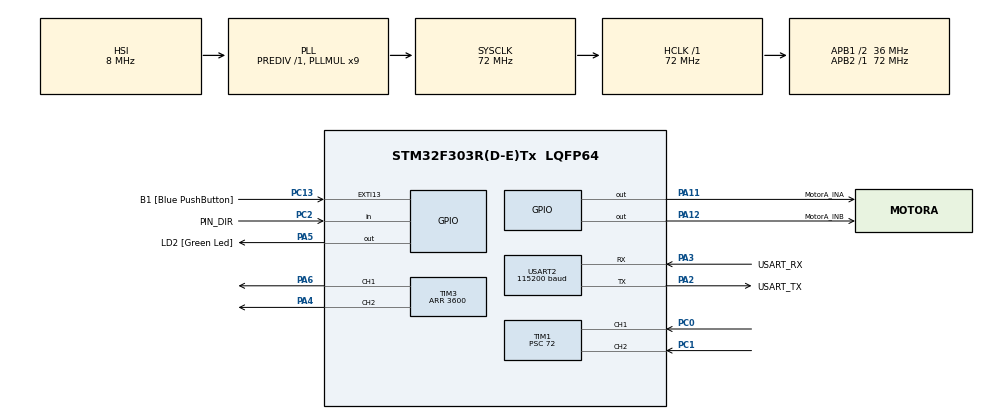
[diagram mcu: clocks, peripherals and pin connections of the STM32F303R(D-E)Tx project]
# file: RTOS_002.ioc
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FREERTOS.BinarySemaphores01=binSem1,Dynamic,NULL;BinSemPWM,Dynamic,NULL
FREERTOS.Mutexes01=MutexEncoder,Dynamic,NULL
FREERTOS.Queues01=QueueUARTSend,32,UART_DATA_SEND_t,0,Dynamic,NULL,NULL
FREERTOS.Tasks01=TaskVelRef,2,128,TaskVelRef_App,Default,NULL,Dynamic,NULL,NULL;TaskControl,1,128,TaskControl_App,Default,NULL,Dynamic,NULL,NULL;TaskPWM,1,128,TaskPWM_App,Default,NULL,Dynamic,NULL,NULL;TaskMotorSpeed,2,128,TaskMotorSpeed_App,Default,NULL,Dynamic,NULL,NULL;TaskUartSend,-1,128,TaskUartSend_App,Default,NULL,Dynamic,NULL,NULL
FREERTOS.configLIBRARY_LOWEST_INTERRUPT_PRIORITY=3
FREERTOS.configLIBRARY_MAX_SYSCALL_INTERRUPT_PRIORITY=2
FREERTOS.configMAX_TASK_NAME_LEN=24
FREERTOS.configTOTAL_HEAP_SIZE=8192
Mcu.Family=STM32F3
Mcu.Name=STM32F303R(D-E)Tx
Mcu.Package=LQFP64
NVIC.EXTI15_10_IRQn=true\:2\:0\:true\:false\:true\:false\:true\:true
NVIC.PriorityGroup=NVIC_PRIORITYGROUP_4
NVIC.TIM1_CC_IRQn=true\:2\:0\:true\:false\:true\:true\:true\:true
NVIC.TIM6_DAC_IRQn=true\:0\:0\:false\:false\:true\:false\:false\:true
NVIC.TimeBase=TIM6_DAC_IRQn
NVIC.TimeBaseIP=TIM6
PA11.GPIO_Label=MotorA_INA
PA11.Signal=GPIO_Output
PA12.GPIO_Label=MotorA_INB
PA12.Signal=GPIO_Output
PA13.GPIO_Label=TMS
PA13.Mode=Serial_Wire
PA13.Signal=SYS_JTMS-SWDIO
PA14.GPIO_Label=TCK
PA14.Mode=Serial_Wire
PA14.Signal=SYS_JTCK-SWCLK
PA2.GPIO_Label=USART_TX
PA2.GPIO_Mode=GPIO_MODE_AF_PP
PA2.GPIO_PuPd=GPIO_NOPULL
PA2.GPIO_Speed=GPIO_SPEED_FREQ_LOW
PA2.Mode=Asynchronous
PA2.Signal=USART2_TX
PA3.GPIO_Label=USART_RX
PA3.GPIO_Mode=GPIO_MODE_AF_PP
PA3.GPIO_PuPd=GPIO_NOPULL
PA3.GPIO_Speed=GPIO_SPEED_FREQ_LOW
PA3.Mode=Asynchronous
PA3.Signal=USART2_RX
PA4.GPIO_ModeDefaultPP=GPIO_MODE_AF_PP
PA4.Signal=S_TIM3_CH2
PA5.GPIO_Label=LD2 [Green Led]
PA5.GPIO_Mode=GPIO_MODE_OUTPUT_PP
PA5.GPIO_PuPd=GPIO_NOPULL
PA5.GPIO_Speed=GPIO_SPEED_FREQ_LOW
PA5.Signal=GPIO_Output
PA6.GPIO_ModeDefaultPP=GPIO_MODE_AF_PP
PA6.Signal=S_TIM3_CH1
PB3.GPIO_Label=SWO
PB3.Signal=SYS_JTDO-TRACESWO
PC0.Signal=S_TIM1_CH1
PC1.Signal=S_TIM1_CH2
PC13.GPIO_Label=B1 [Blue PushButton]
PC13.GPIO_ModeDefaultEXTI=GPIO_MODE_IT_FALLING
PC13.Signal=GPXTI13
PC14-OSC32_IN.Signal=RCC_OSC32_IN
PC15-OSC32_OUT.Signal=RCC_OSC32_OUT
PC2.GPIO_Label=PIN_DIR
PC2.Signal=GPIO_Input
PF0-OSC_IN.Mode=HSE-External-Oscillator
PF0-OSC_IN.Signal=RCC_OSC_IN
PF1-OSC_OUT.Mode=HSE-External-Oscillator
PF1-OSC_OUT.Signal=RCC_OSC_OUT
ProjectManager.HeapSize=0x200
ProjectManager.StackSize=0x400
ProjectManager.TargetToolchain=STM32CubeIDE
RCC.AHBFreq_Value=72000000
RCC.APB1CLKDivider=RCC_HCLK_DIV2
RCC.APB1Freq_Value=36000000
RCC.APB1TimFreq_Value=72000000
RCC.APB2Freq_Value=72000000
RCC.APB2TimFreq_Value=72000000
RCC.CortexFreq_Value=72000000
RCC.HCLKFreq_Value=72000000
RCC.HSE_VALUE=8000000
RCC.HSI_VALUE=8000000
RCC.LSE_VALUE=32768
RCC.PLLM=8
RCC.PLLMUL=RCC_PLL_MUL9
RCC.PLLN=336
RCC.PLLP=RCC_PLLP_DIV4
RCC.PLLQ=7
RCC.RCC_PLLsource_Clock_Source_FROM_HSE=RCC_HSE_PREDIV_DIV2
RCC.SYSCLKFreq_VALUE=72000000
RCC.SYSCLKSourceVirtual=RCC_SYSCLKSOURCE_PLLCLK
RCC.USBFreq_Value=72000000
SH.S_TIM1_CH1.0=TIM1_CH1,Input_Capture1_from_TI1
SH.S_TIM1_CH2.0=TIM1_CH2,Input_Capture2_from_TI2
SH.S_TIM3_CH1.0=TIM3_CH1,PWM Generation1 CH1
SH.S_TIM3_CH2.0=TIM3_CH2,PWM Generation2 CH2
TIM1.AutoReloadPreload=TIM_AUTORELOAD_PRELOAD_ENABLE
TIM1.Channel-Input_Capture1_from_TI1=TIM_CHANNEL_1
TIM1.Channel-Input_Capture2_from_TI2=TIM_CHANNEL_2
TIM1.Prescaler=72
TIM3.Channel-PWM\ Generation1\ CH1=TIM_CHANNEL_1
TIM3.Channel-PWM\ Generation2\ CH2=TIM_CHANNEL_2
TIM3.Period=3600
TIM3.Pulse-PWM\ Generation1\ CH1=1200
TIM3.Pulse-PWM\ Generation2\ CH2=2400
USART2.BaudRate=115200
USART2.VirtualMode-Asynchronous=VM_ASYNC
VP_FREERTOS_VS_CMSIS_V1.Mode=CMSIS_V1
VP_SYS_VS_tim6.Mode=TIM6
VP_TIM1_VS_ClockSourceINT.Mode=Internal
VP_TIM3_VS_ClockSourceINT.Mode=Internal
board=NUCLEO-F303RE

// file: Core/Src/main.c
/* USER CODE BEGIN Header */
/**
  ******************************************************************************
  * @file           : main.c
  * @brief          : Main program body
  ******************************************************************************
  * @attention
  *
  * <h2><center>&copy; Copyright (c) 2020 STMicroelectronics.
  * All rights reserved.</center></h2>
  *
  * This software component is licensed by ST under BSD 3-Clause license,
  * the "License"; You may not use this file except in compliance with the
  * License. You may obtain a copy of the License at:
  *                        opensource.org/licenses/BSD-3-Clause
  *
  ******************************************************************************
  */
/* USER CODE END Header */
#include "main.h"
#include "cmsis_os.h"

TIM_HandleTypeDef htim1;
TIM_HandleTypeDef htim3;

UART_HandleTypeDef huart2;

osThreadId TaskVelRefHandle;
osThreadId TaskControlHandle;
osThreadId TaskPWMHandle;
osThreadId TaskMotorSpeedHandle;
osThreadId TaskUartSendHandle;
osMessageQId QueueUARTSendHandle;
osMutexId MutexEncoderHandle;
osSemaphoreId binSem1Handle;
osSemaphoreId BinSemPWMHandle;
/* USER CODE BEGIN PV */
osMailQDef(QueueUARTSnd, 32, UART_DATA_SEND_t);
osMailQId QueueUARTSndHandle;
/* USER CODE END PV */

void SystemClock_Config(void);
static void MX_GPIO_Init(void);
static void MX_TIM3_Init(void);
static void MX_TIM1_Init(void);
static void MX_USART2_UART_Init(void);
void TaskVelRef_App(void const * argument);
void TaskControl_App(void const * argument);
void TaskPWM_App(void const * argument);
void TaskMotorSpeed_App(void const * argument);
void TaskUartSend_App(void const * argument);

/* USER CODE BEGIN PFP */
void set_PWM(TIM_HandleTypeDef timer, uint32_t channel, uint16_t period, uint32_t pulse);

/* USER CODE END PFP */

/* USER CODE BEGIN 0 */
float MotorA_speed = 0;
volatile IC_Sig_t MotorA_EncA;
volatile IC_Sig_t MotorA_EncB;
UART_DATA_SEND_t DataSendUart;
volatile uint32_t tickCounter;
volatile Motor_Cont_t MC; //-- Variable principal que aloja las estructuras utilizadas.
/* USER CODE END 0 */

int main(void)
{

  /* MCU Configuration--------------------------------------------------------*/

  /* Reset of all peripherals, Initializes the Flash interface and the Systick. */
  HAL_Init();

  /* Configure the system clock */
  SystemClock_Config();

  /* Initialize all configured peripherals */
  MX_GPIO_Init();
  MX_TIM3_Init();
  MX_TIM1_Init();
  MX_USART2_UART_Init();

  /* Create the mutex(es) */
  /* definition and creation of MutexEncoder */
  osMutexDef(MutexEncoder);
  MutexEncoderHandle = osMutexCreate(osMutex(MutexEncoder));

  /* Create the semaphores(s) */
  /* definition and creation of binSem1 */
  osSemaphoreDef(binSem1);
  binSem1Handle = osSemaphoreCreate(osSemaphore(binSem1), 1);

  /* definition and creation of BinSemPWM */
  osSemaphoreDef(BinSemPWM);
  BinSemPWMHandle = osSemaphoreCreate(osSemaphore(BinSemPWM), 1);

  /* Create the queue(s) */
  /* definition and creation of QueueUARTSend */
  osMessageQDef(QueueUARTSend, 32, UART_DATA_SEND_t);
  QueueUARTSendHandle = osMessageCreate(osMessageQ(QueueUARTSend), NULL);

  /* USER CODE BEGIN RTOS_QUEUES */
  /* add queues, ... */
  QueueUARTSndHandle = osMailCreate(osMailQ(QueueUARTSnd), NULL);      // create mail queue
  /* USER CODE END RTOS_QUEUES */

  /* Create the thread(s) */
  /* definition and creation of TaskVelRef */
  osThreadDef(TaskVelRef, TaskVelRef_App, osPriorityHigh, 0, 128);
  TaskVelRefHandle = osThreadCreate(osThread(TaskVelRef), NULL);

  /* definition and creation of TaskControl */
  osThreadDef(TaskControl, TaskControl_App, osPriorityAboveNormal, 0, 128);
  TaskControlHandle = osThreadCreate(osThread(TaskControl), NULL);

  /* definition and creation of TaskPWM */
  osThreadDef(TaskPWM, TaskPWM_App, osPriorityAboveNormal, 0, 128);
  TaskPWMHandle = osThreadCreate(osThread(TaskPWM), NULL);

  /* definition and creation of TaskMotorSpeed */
  osThreadDef(TaskMotorSpeed, TaskMotorSpeed_App, osPriorityHigh, 0, 128);
  TaskMotorSpeedHandle = osThreadCreate(osThread(TaskMotorSpeed), NULL);

  /* definition and creation of TaskUartSend */
  osThreadDef(TaskUartSend, TaskUartSend_App, osPriorityBelowNormal, 0, 128);
  TaskUartSendHandle = osThreadCreate(osThread(TaskUartSend), NULL);

  /* Start scheduler */
  osKernelStart();

  /* We should never get here as control is now taken by the scheduler */
  /* Infinite loop */
  while (1)
  {

  }
}

void SystemClock_Config(void)
{
  RCC_OscInitTypeDef RCC_OscInitStruct = {0};
  RCC_ClkInitTypeDef RCC_ClkInitStruct = {0};
  RCC_PeriphCLKInitTypeDef PeriphClkInit = {0};

  /** Initializes the RCC Oscillators according to the specified parameters
  * in the RCC_OscInitTypeDef structure.
  */
  RCC_OscInitStruct.OscillatorType = RCC_OSCILLATORTYPE_HSI;
  RCC_OscInitStruct.HSIState = RCC_HSI_ON;
  RCC_OscInitStruct.HSICalibrationValue = RCC_HSICALIBRATION_DEFAULT;
  RCC_OscInitStruct.PLL.PLLState = RCC_PLL_ON;
  RCC_OscInitStruct.PLL.PLLSource = RCC_PLLSOURCE_HSI;
  RCC_OscInitStruct.PLL.PLLMUL = RCC_PLL_MUL9;
  RCC_OscInitStruct.PLL.PREDIV = RCC_PREDIV_DIV1;
  if (HAL_RCC_OscConfig(&RCC_OscInitStruct) != HAL_OK)
  {
    Error_Handler();
  }
  /** Initializes the CPU, AHB and APB buses clocks
  */
  RCC_ClkInitStruct.ClockType = RCC_CLOCKTYPE_HCLK|RCC_CLOCKTYPE_SYSCLK
                              |RCC_CLOCKTYPE_PCLK1|RCC_CLOCKTYPE_PCLK2;
  RCC_ClkInitStruct.SYSCLKSource = RCC_SYSCLKSOURCE_PLLCLK;
  RCC_ClkInitStruct.AHBCLKDivider = RCC_SYSCLK_DIV1;
  RCC_ClkInitStruct.APB1CLKDivider = RCC_HCLK_DIV2;
  RCC_ClkInitStruct.APB2CLKDivider = RCC_HCLK_DIV1;

  if (HAL_RCC_ClockConfig(&RCC_ClkInitStruct, FLASH_LATENCY_2) != HAL_OK)
  {
    Error_Handler();
  }
  PeriphClkInit.PeriphClockSelection = RCC_PERIPHCLK_USART2|RCC_PERIPHCLK_TIM1
                              |RCC_PERIPHCLK_TIM34;
  PeriphClkInit.Usart2ClockSelection = RCC_USART2CLKSOURCE_PCLK1;
  PeriphClkInit.Tim1ClockSelection = RCC_TIM1CLK_HCLK;
  PeriphClkInit.Tim34ClockSelection = RCC_TIM34CLK_HCLK;
  if (HAL_RCCEx_PeriphCLKConfig(&PeriphClkInit) != HAL_OK)
  {
    Error_Handler();
  }
}

static void MX_TIM1_Init(void)
{

  TIM_ClockConfigTypeDef sClockSourceConfig = {0};
  TIM_MasterConfigTypeDef sMasterConfig = {0};
  TIM_IC_InitTypeDef sConfigIC = {0};

  htim1.Instance = TIM1;
  htim1.Init.Prescaler = 72;
  htim1.Init.CounterMode = TIM_COUNTERMODE_UP;
  htim1.Init.Period = 65535;
  htim1.Init.ClockDivision = TIM_CLOCKDIVISION_DIV1;
  htim1.Init.RepetitionCounter = 0;
  htim1.Init.AutoReloadPreload = TIM_AUTORELOAD_PRELOAD_ENABLE;
  if (HAL_TIM_Base_Init(&htim1) != HAL_OK)
  {
    Error_Handler();
  }
  sClockSourceConfig.ClockSource = TIM_CLOCKSOURCE_INTERNAL;
  if (HAL_TIM_ConfigClockSource(&htim1, &sClockSourceConfig) != HAL_OK)
  {
    Error_Handler();
  }
  if (HAL_TIM_IC_Init(&htim1) != HAL_OK)
  {
    Error_Handler();
  }
  sMasterConfig.MasterOutputTrigger = TIM_TRGO_RESET;
  sMasterConfig.MasterOutputTrigger2 = TIM_TRGO2_RESET;
  sMasterConfig.MasterSlaveMode = TIM_MASTERSLAVEMODE_DISABLE;
  if (HAL_TIMEx_MasterConfigSynchronization(&htim1, &sMasterConfig) != HAL_OK)
  {
    Error_Handler();
  }
  sConfigIC.ICPolarity = TIM_INPUTCHANNELPOLARITY_RISING;
  sConfigIC.ICSelection = TIM_ICSELECTION_DIRECTTI;
  sConfigIC.ICPrescaler = TIM_ICPSC_DIV1;
  sConfigIC.ICFilter = 0;
  if (HAL_TIM_IC_ConfigChannel(&htim1, &sConfigIC, TIM_CHANNEL_1) != HAL_OK)
  {
    Error_Handler();
  }
  if (HAL_TIM_IC_ConfigChannel(&htim1, &sConfigIC, TIM_CHANNEL_2) != HAL_OK)
  {
    Error_Handler();
  }

}

static void MX_TIM3_Init(void)
{

  TIM_ClockConfigTypeDef sClockSourceConfig = {0};
  TIM_MasterConfigTypeDef sMasterConfig = {0};
  TIM_OC_InitTypeDef sConfigOC = {0};

  htim3.Instance = TIM3;
  htim3.Init.Prescaler = 0;
  htim3.Init.CounterMode = TIM_COUNTERMODE_UP;
  htim3.Init.Period = 3600;
  htim3.Init.ClockDivision = TIM_CLOCKDIVISION_DIV1;
  htim3.Init.AutoReloadPreload = TIM_AUTORELOAD_PRELOAD_DISABLE;
  if (HAL_TIM_Base_Init(&htim3) != HAL_OK)
  {
    Error_Handler();
  }
  sClockSourceConfig.ClockSource = TIM_CLOCKSOURCE_INTERNAL;
  if (HAL_TIM_ConfigClockSource(&htim3, &sClockSourceConfig) != HAL_OK)
  {
    Error_Handler();
  }
  if (HAL_TIM_PWM_Init(&htim3) != HAL_OK)
  {
    Error_Handler();
  }
  sMasterConfig.MasterOutputTrigger = TIM_TRGO_RESET;
  sMasterConfig.MasterSlaveMode = TIM_MASTERSLAVEMODE_DISABLE;
  if (HAL_TIMEx_MasterConfigSynchronization(&htim3, &sMasterConfig) != HAL_OK)
  {
    Error_Handler();
  }
  sConfigOC.OCMode = TIM_OCMODE_PWM1;
  sConfigOC.Pulse = 1200;
  sConfigOC.OCPolarity = TIM_OCPOLARITY_HIGH;
  sConfigOC.OCFastMode = TIM_OCFAST_DISABLE;
  if (HAL_TIM_PWM_ConfigChannel(&htim3, &sConfigOC, TIM_CHANNEL_1) != HAL_OK)
  {
    Error_Handler();
  }
  sConfigOC.Pulse = 2400;
  if (HAL_TIM_PWM_ConfigChannel(&htim3, &sConfigOC, TIM_CHANNEL_2) != HAL_OK)
  {
    Error_Handler();
  }
  HAL_TIM_MspPostInit(&htim3);

}

static void MX_USART2_UART_Init(void)
{

  huart2.Instance = USART2;
  huart2.Init.BaudRate = 115200;
  huart2.Init.WordLength = UART_WORDLENGTH_8B;
  huart2.Init.StopBits = UART_STOPBITS_1;
  huart2.Init.Parity = UART_PARITY_NONE;
  huart2.Init.Mode = UART_MODE_TX_RX;
  huart2.Init.HwFlowCtl = UART_HWCONTROL_NONE;
  huart2.Init.OverSampling = UART_OVERSAMPLING_16;
  huart2.Init.OneBitSampling = UART_ONE_BIT_SAMPLE_DISABLE;
  huart2.AdvancedInit.AdvFeatureInit = UART_ADVFEATURE_NO_INIT;
  if (HAL_UART_Init(&huart2) != HAL_OK)
  {
    Error_Handler();
  }

}

static void MX_GPIO_Init(void)
{
  GPIO_InitTypeDef GPIO_InitStruct = {0};

  /* GPIO Ports Clock Enable */
  __HAL_RCC_GPIOC_CLK_ENABLE();
  __HAL_RCC_GPIOF_CLK_ENABLE();
  __HAL_RCC_GPIOA_CLK_ENABLE();
  __HAL_RCC_GPIOB_CLK_ENABLE();

  /*Configure GPIO pin Output Level */
  HAL_GPIO_WritePin(GPIOA, LD2_Pin|MotorA_INA_Pin|MotorA_INB_Pin, GPIO_PIN_RESET);

  /*Configure GPIO pin : B1_Pin */
  GPIO_InitStruct.Pin = B1_Pin;
  GPIO_InitStruct.Mode = GPIO_MODE_IT_FALLING;
  GPIO_InitStruct.Pull = GPIO_NOPULL;
  HAL_GPIO_Init(B1_GPIO_Port, &GPIO_InitStruct);

  /*Configure GPIO pin : PIN_DIR_Pin */
  GPIO_InitStruct.Pin = PIN_DIR_Pin;
  GPIO_InitStruct.Mode = GPIO_MODE_INPUT;
  GPIO_InitStruct.Pull = GPIO_NOPULL;
  HAL_GPIO_Init(PIN_DIR_GPIO_Port, &GPIO_InitStruct);

  /*Configure GPIO pins : LD2_Pin MotorA_INA_Pin MotorA_INB_Pin */
  GPIO_InitStruct.Pin = LD2_Pin|MotorA_INA_Pin|MotorA_INB_Pin;
  GPIO_InitStruct.Mode = GPIO_MODE_OUTPUT_PP;
  GPIO_InitStruct.Pull = GPIO_NOPULL;
  GPIO_InitStruct.Speed = GPIO_SPEED_FREQ_LOW;
  HAL_GPIO_Init(GPIOA, &GPIO_InitStruct);

  /* EXTI interrupt init*/
  HAL_NVIC_SetPriority(EXTI15_10_IRQn, 2, 0);
  HAL_NVIC_EnableIRQ(EXTI15_10_IRQn);

}

/* USER CODE BEGIN 4 */
void set_PWM(TIM_HandleTypeDef timer, uint32_t channel, uint16_t period, uint32_t pulse)
{
    HAL_TIM_PWM_Stop(&timer,channel);
    TIM_OC_InitTypeDef sConfigOC;
    timer.Init.Period = period;
    HAL_TIM_PWM_Init(&timer);
    sConfigOC.OCMode = TIM_OCMODE_PWM1;
    sConfigOC.Pulse = pulse;
    sConfigOC.OCPolarity = TIM_OCPOLARITY_HIGH;
    sConfigOC.OCFastMode = TIM_OCFAST_DISABLE;
    HAL_TIM_PWM_ConfigChannel(&timer,&sConfigOC,channel);

    HAL_TIM_PWM_Start(&timer,channel);
}

void HAL_TIM_IC_CaptureCallback(TIM_HandleTypeDef *htim)
{
	//-- Al detectar un flanco ascendente se activa el presente Callback
	//-- la dirección se obtiene al analizar en que estado está la otra señal
	//-- con respecto a la señal que genera el flanco.
	//-- Is_First_Captured se utiliza para determinar si se pudo obtener el primer
	//-- pulso y asi obtener el segundo para luego estimar el periodo de la señal A
	//-- luego obtener la velocidad del motor.
	if(htim->Channel == HAL_TIM_ACTIVE_CHANNEL_1)
	{
		if(HAL_GPIO_ReadPin(PIN_DIR_GPIO_Port,PIN_DIR_Pin ) == 1)
		{
			MotorA_EncA.direction = -1;
		}
		else
		{
			MotorA_EncA.direction = 1;
		}

		if(MotorA_EncA.Is_First_Captured==0)
		{
			MotorA_EncA.IC_Value1 = HAL_TIM_ReadCapturedValue(htim, TIM_CHANNEL_1);
			MotorA_EncA.Is_First_Captured = 1;
		}
		else if(MotorA_EncA.Is_First_Captured)
		{
			MotorA_EncA.IC_Value2 = HAL_TIM_ReadCapturedValue(htim, TIM_CHANNEL_1);
			if(MotorA_EncA.IC_Value2 > MotorA_EncA.IC_Value1)
			{
				MotorA_EncA.Period = MotorA_EncA.IC_Value2 - MotorA_EncA.IC_Value1;
			}
			else
			{
				MotorA_EncA.Period = MotorA_EncA.IC_Value2+65535 - MotorA_EncA.IC_Value1;
			}

			MotorA_EncA.Is_First_Captured = 0;

		}
		//-- Este contador sirve para determinar cuando se detuvo el motor. Al no haber cambios
		//-- en la velocidad y el contador sigue aumentando nos da un indicio de que el motor
		//-- se detuvo y nos quedaron valores que no se corresponden con el estado del motor.
		MotorA_EncA.cont++;
	}
	if(htim->Channel == HAL_TIM_ACTIVE_CHANNEL_2)
	{
		//-- Se calcula el período de la señal B del encoder pero actualmente no es utilizada
		//-- para estimar la velocidad.
		if(MotorA_EncB.Is_First_Captured==0)
		{
			MotorA_EncB.IC_Value1 = HAL_TIM_ReadCapturedValue(htim, TIM_CHANNEL_2);
			MotorA_EncB.Is_First_Captured = 1;
		}
		else if(MotorA_EncB.Is_First_Captured)
		{
			MotorA_EncB.IC_Value2 = HAL_TIM_ReadCapturedValue(htim, TIM_CHANNEL_2);
			if(MotorA_EncB.IC_Value2 > MotorA_EncB.IC_Value1)
			{
				MotorA_EncB.Period = MotorA_EncB.IC_Value2 - MotorA_EncB.IC_Value1;
			}
			else
			{
				MotorA_EncB.Period = MotorA_EncB.IC_Value2+65535 - MotorA_EncB.IC_Value1;
			}

			MotorA_EncB.Is_First_Captured = 0;

		}
		MotorA_EncB.cont++;
	}
}

void HAL_GPIO_EXTI_Callback(uint16_t GPIO_Pin)
{
	if(B1_Pin == GPIO_Pin)
	{
		//-- La placa posee un pulsador que se puede utilizar para iniciar el
		//-- arranque del motor. En este caso está configurado para que arranque
		//-- por interrupción.
		osSemaphoreRelease(binSem1Handle);

	}
}
/* USER CODE END 4 */

void TaskVelRef_App(void const * argument)
{
  /* USER CODE BEGIN 5 */
  /* Infinite loop */
  MC.ready = 1;
  HAL_GPIO_WritePin(LD2_GPIO_Port, LD2_Pin, GPIO_PIN_RESET);
  for(;;)
  {

	  if(!MC.ready) //-- Espera al pulsador
	  {
		  osSemaphoreWait(binSem1Handle, osWaitForever);
	  }
	  MC.ready=1;
	  HAL_GPIO_WritePin(LD2_GPIO_Port, LD2_Pin, GPIO_PIN_SET);

	  //-- Perfil de velocidad utilizado para el análisis del sistema.
	  //-- Cada 3 segundos cambia de 300rpm a 450rpm
	  //-- Luego de 450rpm a 300 rpm y así sucesivamente.
	  for(uint8_t cont = 0; cont <=3 ; cont++ )
	  {
		MC.speedRef = (300+cont*50);
		osDelay(3000);
	  }
	  for(int8_t cont = 2; cont >=1 ; cont-- )
	  {
		MC.speedRef = (300+cont*50);
		osDelay(3000);
	  }

  }
  /* USER CODE END 5 */
}

void TaskControl_App(void const * argument)
{
  /* USER CODE BEGIN TaskControl_App */
	//-- Initialize structure
	MC.MotorA_speed = 0;
	MC.MotorB_speed = 0;

	//-- Pongo todos los coeficientes del PID en 0
	for(int8_t cont = 0;cont<PID_COEF_LEN;cont++)
	{
		MC.PID_MA.x_n[cont] = 0;
		MC.PID_MA.y_n[cont] = 0;
	}
	MC.speedRef=0;
	MC.errorA=0;
	MC.errorB=0;
	//-- Seteo los coeficientes del PID diseñado.

	// *.*.*.*.*  Selección del PID *.*.*.*.*

	//******* PID --> Para Ts 1ms  **************

	//MC.PID_MA.a[0] = 1;
	//MC.PID_MA.a[1] = 1.845;
	//MC.PID_MA.a[2] = -0.845;
	//MC.PID_MA.b[0] = 0.125;
	//MC.PID_MA.b[1] = 0.0075;
	//MC.PID_MA.b[2] = -0.117;

	//******* PID --> Para Ts 5ms  **************

	MC.PID_MA.K = 0.7;
	MC.PID_MA.a[0] = 1;
	MC.PID_MA.a[1] = 1.296;
	MC.PID_MA.a[2] = -0.296;
	MC.PID_MA.b[0] = 0.599*MC.PID_MA.K;
	MC.PID_MA.b[1] = 0.1553*MC.PID_MA.K;
	MC.PID_MA.b[2] = -0.444*MC.PID_MA.K;

	//******* PI --> Para Ts 5ms  **************

	/*MC.PID_MA.K = 20;
	MC.PID_MA.a[0] = 1;
	MC.PID_MA.a[1] = 1;
	MC.PID_MA.a[2] = 0;
	MC.PID_MA.b[0] = 0.6277*MC.PID_MA.K;
	MC.PID_MA.b[1] = 0.034*MC.PID_MA.K;
	MC.PID_MA.b[2] = 0;*/

	MC.Tsample = 5; //-- 5ms
	osDelay(10);

  /* Infinite loop */
  for(;;)
  {
	  if(MC.ready)
	  {
		  osDelay(MC.Tsample);
		  //-- Armo la señal de error
		  MC.errorA = MC.speedRef - MC.MotorA_speed*60;

		  //*********************        Utilizando PID       *****************************************
		  //*******************************************************************************************
		  //-- Realizo el corrimiento de los coeficientes del PID
		  for(int8_t i = PID_COEF_LEN-2 ; i>=0 ; i--)
		  {
			  MC.PID_MA.x_n[i+1] = MC.PID_MA.x_n[i];
			  MC.PID_MA.y_n[i+1] = MC.PID_MA.y_n[i];
		  }
		  MC.PID_MA.x_n[0] = MC.errorA;
		  MC.PID_MA.y_n[0] = 0;
		  MC.PID_MA.y_n[0] += MC.PID_MA.b[0]*MC.PID_MA.x_n[0] ;
		  for(uint8_t i = 1 ; i<=PID_COEF_LEN-1 ; i++)
		  {
			  MC.PID_MA.y_n[0] += MC.PID_MA.b[i]*MC.PID_MA.x_n[i] + MC.PID_MA.a[i]*MC.PID_MA.y_n[i];
		  }
		  //-- Esto se arma automaticamente con el algoritmo de arriba.
		  /*MC.PID_MA.y_n[0] = MC.PID_MA.b[0]*MC.PID_MA.x_n[0] +
				  	  	  	  MC.PID_MA.b[1]*MC.PID_MA.x_n[1] +
							  MC.PID_MA.b[2]*MC.PID_MA.x_n[2] +
							  MC.PID_MA.a[1]*MC.PID_MA.y_n[1] +
							  MC.PID_MA.a[2]*MC.PID_MA.y_n[2];*/
		  //*******************************************************************************************

		  //*********************         Sin usar PID        *****************************************
		  //*******************************************************************************************
		  //MC.PID_MA.y_n[0] = MC.errorA;

		  //*******************************************************************************************
		  //-- Libero la tarea encargada de activar el PWM que acciona el motor..
		  osSemaphoreRelease(BinSemPWMHandle);

	  }
	  osDelay(1);
  }
  /* USER CODE END TaskControl_App */
}

void TaskPWM_App(void const * argument)
{
  /* USER CODE BEGIN TaskPWM_App */
	//-- Timers encargados de iniciar los modulos PWM del uC
	HAL_TIM_PWM_Start(&htim3, TIM_CHANNEL_1);
	HAL_TIM_PWM_Start(&htim3, TIM_CHANNEL_2);
	//-- Seteamos la dirección del motor y el PWM en 0 para dejarlo quieto.
	set_PWM(htim3, TIM_CHANNEL_1, 3600, (uint16_t) 0); // -- PWM desactivado
	HAL_GPIO_WritePin(MotorA_INA_GPIO_Port, MotorA_INA_Pin, GPIO_PIN_SET);
	HAL_GPIO_WritePin(MotorA_INB_GPIO_Port, MotorA_INB_Pin, GPIO_PIN_RESET);
	MC.pwmMotor = 0;

  /* Infinite loop */
  for(;;)
  {
	//-- Esperamos que se halla actualizado la ecuacion en diferencias.
	osSemaphoreWait(BinSemPWMHandle, osWaitForever);
	MC.pwmMotor = MC.PID_MA.y_n[0];
	if(MC.pwmMotor<=0)
	{
		HAL_GPIO_WritePin(MotorA_INA_GPIO_Port, MotorA_INA_Pin, GPIO_PIN_SET);
		HAL_GPIO_WritePin(MotorA_INB_GPIO_Port, MotorA_INB_Pin, GPIO_PIN_RESET);
	}
	else
	{
		HAL_GPIO_WritePin(MotorA_INA_GPIO_Port, MotorA_INA_Pin, GPIO_PIN_RESET);
		HAL_GPIO_WritePin(MotorA_INB_GPIO_Port, MotorA_INB_Pin, GPIO_PIN_SET);
	}
	//-- Seteamos el ancho del pulso del pwm que acciona al motor.
	//-- tiene un factor de escala de 450 para indicar que el valor máximo seteable
	//-- es de 450rpm.
	set_PWM(htim3, TIM_CHANNEL_1, 3600, (uint32_t) fabs((3600*MC.pwmMotor/450)  ) ); ///7.5 --Vmax 450rpm PWM

  }
  /* USER CODE END TaskPWM_App */
}

void TaskMotorSpeed_App(void const * argument)
{
  /* USER CODE BEGIN TaskMotorSpeed_App */
	uint8_t contAux = 0;
	//-- Inicializo los timers encargados de generar las interrupciones
	//-- para medir las señales A y B del encoder.
	HAL_TIM_IC_Start_IT(&htim1, TIM_CHANNEL_1);
	HAL_TIM_IC_Start_IT(&htim1, TIM_CHANNEL_2);
	//-- Puntero utilizado para enviar datos por la cola de mensajes.
	UART_DATA_SEND_t *dataPtr;

	MotorA_EncA.direction = 1;
  /* Infinite loop */
  for(;;)
  {
	  //osMutexWait(MutexEncoderHandle, osWaitForever );
		if((contAux == MotorA_EncA.cont))
		{
			//-- Setea la velocidad "leida" del motor en 0 cuando
			//-- no se detectan pulsos provenientes del encoder.
			DataSendUart.MotorA_speed = 0;
			MC.MotorA_speed = 0;
			DataSendUart.time_stamp = (uint32_t) tickCounter;
			DataSendUart.Period = 0;
			DataSendUart.Frequency = 0;
		}
		else{
			//-- Primero se determina la frecuencia de la señal A del encoder.
			//-- Luego se utiliza ésta con un factor de conversión pulsos en el eje de salida.
			//-- Freq = (FreqCLK/(PreScaler*Nticks))
			//-- Speed = Freq/Encoder_pulses (Speed in the shaft)
			DataSendUart.MotorA_speed = (float) HAL_RCC_GetPCLK2Freq()/(htim1.Init.Prescaler*MotorA_EncA.Period*ENCODER_SHAFT_CPR);
			MC.MotorA_speed = DataSendUart.MotorA_speed;

			//-- Sirve para indicar en qué momento se obtuvo la medicion de velocidad
			DataSendUart.time_stamp = (uint32_t) tickCounter;

			DataSendUart.Period = (uint32_t) MotorA_EncA.Period;
			DataSendUart.Frequency = (float) MotorA_EncA.Frequency;
			contAux = MotorA_EncA.cont;
		}

		//osMutexRelease(MutexEncoderHandle);

		//-- Asigno memoria din{amica para enviar el mensaje
		dataPtr = osMailAlloc(QueueUARTSndHandle, osWaitForever );
		if(dataPtr != NULL)
		{
			//-- Cargo el mensaje
			dataPtr->MotorA_speed = DataSendUart.MotorA_speed;
			dataPtr->time_stamp = DataSendUart.time_stamp;
			dataPtr->reference = (float) MC.speedRef;
			//-- Envio el mensaje por la cola
			if(osMailPut(QueueUARTSndHandle, dataPtr) != osOK)
			{
				while(1);
			}
		}
		osDelay(1);
  }
  /* USER CODE END TaskMotorSpeed_App */
}

void TaskUartSend_App(void const * argument)
{
  /* USER CODE BEGIN TaskUartSend_App */
  osEvent dataSEND;
  UART_DATA_SEND_t *dataPtr;

  // -- Variables para sincronismo
  uint8_t a=8, b=16, c=32, d=64 ;
  /* Infinite loop */
  for(;;)
  {
	  dataSEND = osMailGet(QueueUARTSndHandle, osWaitForever);
	  if(dataSEND.status == osEventMail){
		  dataPtr = dataSEND.value.p;
		  //-- Transmito 4 variables de 8 bits para sincronizar los datos por UART.
		  //-- Esto toma importancia al momento de enviar tamaño de datos mayores a 1byte.
		  //-- También sirve para determinar a qué variable corresponde cada valor enviado
		  //-- Por el orden que poseen en la estructura implementada.
		  HAL_UART_Transmit(&huart2, (uint8_t *)&a, sizeof(uint8_t), osWaitForever);
		  HAL_UART_Transmit(&huart2, (uint8_t *)&b, sizeof(uint8_t), osWaitForever);
		  HAL_UART_Transmit(&huart2, (uint8_t *)&c, sizeof(uint8_t), osWaitForever);
		  HAL_UART_Transmit(&huart2, (uint8_t *)&d, sizeof(uint8_t), osWaitForever);
		  HAL_UART_Transmit(&huart2, (uint8_t *)dataPtr, sizeof(UART_DATA_SEND_t), osWaitForever);
		  //-- Libero la memoria del mensaje recibido por la cola que ya fue enviado por uart.
		  osMailFree(QueueUARTSndHandle, dataPtr);
	  }
  }
  /* USER CODE END TaskUartSend_App */
}

void HAL_TIM_PeriodElapsedCallback(TIM_HandleTypeDef *htim)
{
  if (htim->Instance == TIM6) {
    HAL_IncTick();
  }
  /* USER CODE BEGIN Callback 1 */

  //osMutexWait(MutexEncoderHandle, osWaitForever );
  //-- Contador de ticks utilizado para obtener el timeStamp de las mediciones.
  tickCounter++;
  //osMutexRelease(MutexEncoderHandle);
  /* USER CODE END Callback 1 */
}

void Error_Handler(void)
{
}

/************************ (C) COPYRIGHT STMicroelectronics *****END OF FILE****/
